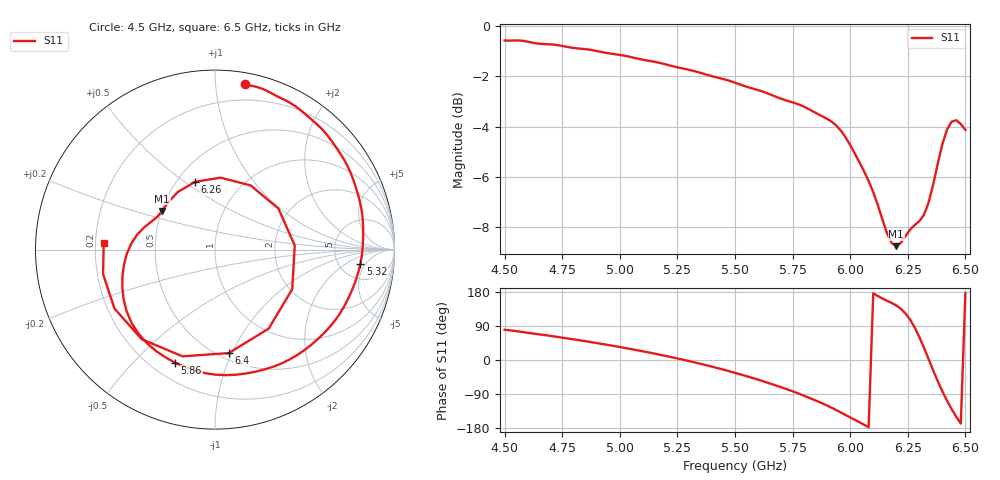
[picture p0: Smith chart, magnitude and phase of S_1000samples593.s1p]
! TOUCHSTONE file generated by CST MICROWAVE STUDIO
! Date and time: Fri Oct 28 17:17:52 2022
! Project name: L.cst
! Parameters = {Di=1.27; Epsilon_r=1.56; InnerDiameter=1.27; Length=2; Lf=10; Lg=60; OuterConductorThickness=0.2921; OuterDiameter=3.6; Wf=3; Wp=41.2; de=1.5; df=6.8; g=0.8; gx=1.94096; gy=2.32987; h=2.34; hf=1.524; px=9.05726; py=13.017; w=9.7; wx=7.1163; wy=10.6872}
! Header version: 2018
! Port assignment regex: !\s*Touchstone port\s*([0-9]+)\s*=\s*(CST MWS port|CST DS port)\s*([0-9]+|Zmin|Zmax)\s*\(\"(.*)\"\)(\s*mode\s*([0-9]+))?.*
! Touchstone port assignment:
! Touchstone port 1 = CST MWS port 1 ("")
# GHz S DB R 50
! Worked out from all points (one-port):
!   101 points, 4.5 GHz to 6.5 GHz, reference 50 ohm
!   lowest |S11| = -8.8 dB at 6.2 GHz (marker M1), VSWR 2.15, Z = 25.1 + j12.4 ohm
!   |S11| at or under -10 dB: nowhere
!   S11 on the Smith chart (normalised r, x): 4.5 GHz: 0.08, +1.19; 5.32 GHz: 7.93, -3.76; 5.86 GHz: 0.29, -0.67; 6.26 GHz: 0.61, +0.55; 6.4 GHz: 0.56, -0.97; 6.5 GHz: 0.23, +0.03
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4.5  -0.58 79.9
4.76  -0.82 58.0
5  -1.15 34.3
5.26  -1.67 2.8
5.32  -1.79 -5.6
5.5  -2.26 -33.9
5.64  -2.68 -59.6
5.76  -3.07 -84.9
5.86  -3.51 -109.5
5.92  -3.81 -126.2
6  -4.74 -151.5
6.08  -6.17 -177.3
6.14  -7.70 162.2
6.2  -8.76 144.0
6.24  -8.35 122.8
6.26  -8.10 106.3
6.28  -7.92 85.6
6.3  -7.76 60.9
6.32  -7.51 32.9
6.34  -7.03 2.9
6.36  -6.31 -27.2
6.38  -5.48 -55.8
6.4  -4.71 -82.5
6.42  -4.13 -106.9
6.44  -3.81 -129.3
6.46  -3.75 -149.6
6.48  -3.90 -167.7
6.5  -4.13 176.6
